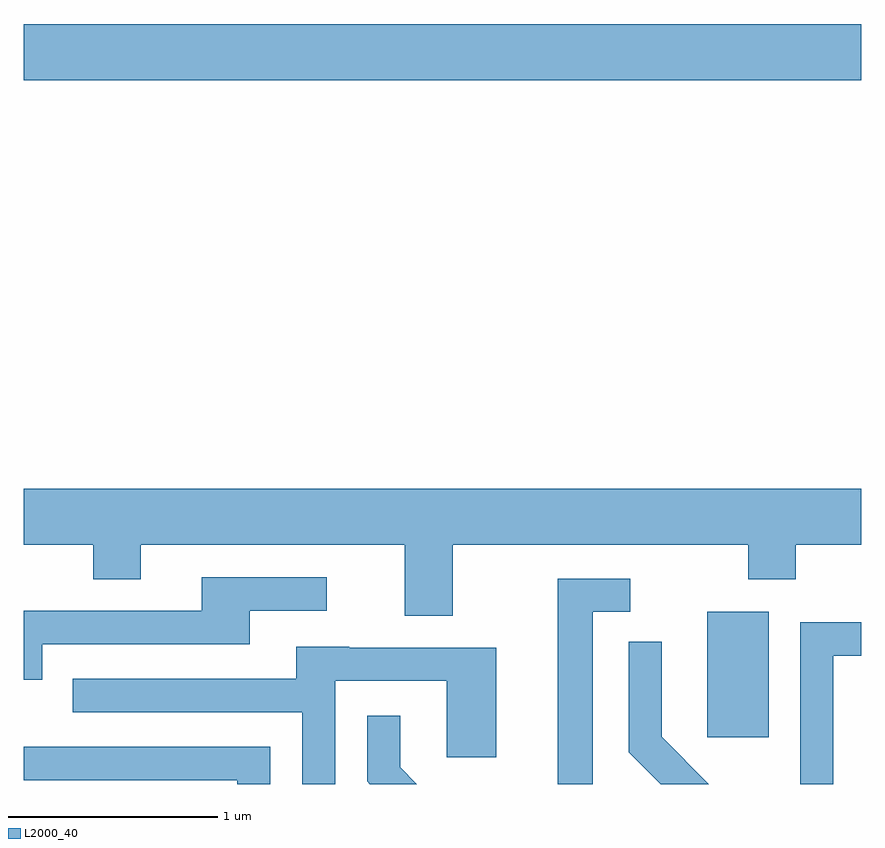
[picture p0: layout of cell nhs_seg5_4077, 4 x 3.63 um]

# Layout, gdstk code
import gdstk
lib = gdstk.Library(unit=1e-6, precision=1e-09)
def R(c, l, rs):  # rectangles x0, y0, x1, y1
    for r in rs: c.add(gdstk.rectangle(r[:2], r[2:], *l))
def P(c, l, *ps):  # polygons
    for p in ps: c.add(gdstk.Polygon(p, *l))
L2000_40 = (2000, 40)

nhs_seg5_4077 = lib.new_cell('nhs_seg5_4077')
R(nhs_seg5_4077, L2000_40, [(308.876,1480.296,309.169,1480.894), (305.611,1483.436,309.611,1483.704)])
P(nhs_seg5_4077, L2000_40, [(305.611,1481.216),(305.941,1481.216),(305.941,1481.051),(306.169,1481.051),(306.169,1481.216),(307.431,1481.216),(307.431,1480.876),(307.659,1480.876),(307.659,1481.216),(309.071,1481.216),(309.071,1481.051),(309.299,1481.051),(309.299,1481.216),(309.611,1481.216),(309.611,1481.484),(305.611,1481.484)],
  [(305.699,1480.741),(306.689,1480.741),(306.689,1480.901),(307.058,1480.901),(307.058,1481.059),(306.461,1481.059),(306.461,1480.899),(305.611,1480.899),(305.611,1480.571),(305.699,1480.571)],
  [(308.329,1480.896),(308.508,1480.896),(308.508,1481.054),(308.161,1481.054),(308.161,1480.072),(308.329,1480.072)],
  [(309.479,1480.686),(309.611,1480.686),(309.611,1480.844),(309.321,1480.844),(309.321,1480.072),(309.479,1480.072)],
  [(308.659,1480.297),(308.659,1480.753),(308.501,1480.753),(308.501,1480.224),(308.653,1480.072),(308.884,1480.072)],
  [(307.099,1480.566),(307.631,1480.566),(307.631,1480.201),(307.869,1480.201),(307.869,1480.724),(307.165,1480.724),(307.165,1480.729),(306.911,1480.729),(306.911,1480.574),(305.843,1480.574),(305.843,1480.416),(306.941,1480.416),(306.941,1480.072),(307.099,1480.072)],
  [(307.409,1480.152),(307.409,1480.398),(307.251,1480.398),(307.251,1480.084),(307.263,1480.072),(307.489,1480.072)],
  [(306.789,1480.249),(305.611,1480.249),(305.611,1480.091),(306.631,1480.091),(306.631,1480.072),(306.789,1480.072)])

lib.write_gds('nhs_seg5_4077.gds')
